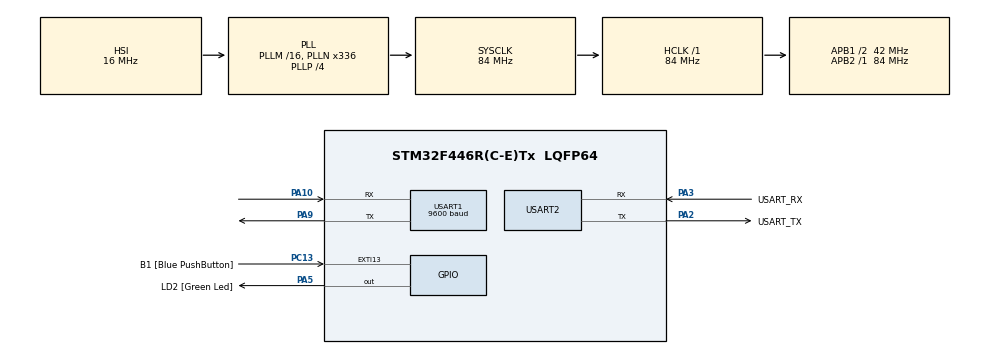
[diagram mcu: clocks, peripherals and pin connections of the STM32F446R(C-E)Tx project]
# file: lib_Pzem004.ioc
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Mcu.Family=STM32F4
Mcu.Name=STM32F446R(C-E)Tx
Mcu.Package=LQFP64
NVIC.PriorityGroup=NVIC_PRIORITYGROUP_0
PA10.Mode=Asynchronous
PA10.Signal=USART1_RX
PA13.GPIO_Label=TMS
PA13.Mode=Serial_Wire
PA13.Signal=SYS_JTMS-SWDIO
PA14.GPIO_Label=TCK
PA14.Mode=Serial_Wire
PA14.Signal=SYS_JTCK-SWCLK
PA2.GPIO_Label=USART_TX
PA2.Mode=Asynchronous
PA2.Signal=USART2_TX
PA3.GPIO_Label=USART_RX
PA3.Mode=Asynchronous
PA3.Signal=USART2_RX
PA5.GPIO_Label=LD2 [Green Led]
PA5.Signal=GPIO_Output
PA9.Mode=Asynchronous
PA9.Signal=USART1_TX
PB3.GPIO_Label=SWO
PB3.Signal=SYS_JTDO-SWO
PC13.GPIO_Label=B1 [Blue PushButton]
PC13.GPIO_ModeDefaultEXTI=GPIO_MODE_IT_FALLING
PC13.Signal=GPXTI13
PC14-OSC32_IN.Mode=LSE-External-Oscillator
PC14-OSC32_IN.Signal=RCC_OSC32_IN
PC15-OSC32_OUT.Mode=LSE-External-Oscillator
PC15-OSC32_OUT.Signal=RCC_OSC32_OUT
PH0-OSC_IN.Mode=HSE-External-Oscillator
PH0-OSC_IN.Signal=RCC_OSC_IN
PH1-OSC_OUT.Mode=HSE-External-Oscillator
PH1-OSC_OUT.Signal=RCC_OSC_OUT
ProjectManager.HeapSize=0x200
ProjectManager.StackSize=0x400
ProjectManager.TargetToolchain=STM32CubeIDE
RCC.48MHZClocksFreq_Value=84000000
RCC.AHBFreq_Value=84000000
RCC.APB1CLKDivider=RCC_HCLK_DIV2
RCC.APB1Freq_Value=42000000
RCC.APB1TimFreq_Value=84000000
RCC.APB2Freq_Value=84000000
RCC.APB2TimFreq_Value=84000000
RCC.CortexFreq_Value=84000000
RCC.FLatency-AdvancedSettings=FLASH_LATENCY_2
RCC.HCLKFreq_Value=84000000
RCC.HSE_VALUE=8000000
RCC.HSI_VALUE=16000000
RCC.PLLN=336
RCC.PLLP=RCC_PLLP_DIV4
RCC.SYSCLKFreq_VALUE=84000000
RCC.SYSCLKSource=RCC_SYSCLKSOURCE_PLLCLK
RCC.USBFreq_Value=168000000
RCC.VCOOutputFreq_Value=336000000
USART1.BaudRate=9600
USART1.VirtualMode=VM_ASYNC
USART2.VirtualMode=VM_ASYNC
board=NUCLEO-F446RE

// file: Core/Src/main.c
/* USER CODE BEGIN Header */
/**
  ******************************************************************************
  * @file           : main.c
  * @brief          : Main program body
  ******************************************************************************
  * @attention
  *
  * Copyright (c) 2024 STMicroelectronics.
  * All rights reserved.
  *
  * This software is licensed under terms that can be found in the LICENSE file
  * in the root directory of this software component.
  * If no LICENSE file comes with this software, it is provided AS-IS.
  *
  ******************************************************************************
  */
/* USER CODE END Header */
#include "main.h"

/* USER CODE BEGIN Includes */
#include <stdint.h>
#include <stdio.h>
#include <string.h>
#include <stdlib.h>
/* USER CODE END Includes */

UART_HandleTypeDef huart1;
UART_HandleTypeDef huart2;

/* USER CODE BEGIN PV */
#ifdef __GNUC__
/* With GCC/RAISONANCE, small printf (option LD Linker->Libraries->Small printf
   set to 'Yes') calls __io_putchar() */
#define PUTCHAR_PROTOTYPE int __io_putchar(int ch)
#else
#define PUTCHAR_PROTOTYPE int fputc(int ch, FILE *f)
#endif /* __GNUC__ */

/* USER CODE END PV */

void SystemClock_Config(void);
static void MX_GPIO_Init(void);
static void MX_USART2_UART_Init(void);
static void MX_USART1_UART_Init(void);

int main(void)
{

  /* MCU Configuration--------------------------------------------------------*/

  /* Reset of all peripherals, Initializes the Flash interface and the Systick. */
  HAL_Init();

  /* Configure the system clock */
  SystemClock_Config();

  /* Initialize all configured peripherals */
  MX_GPIO_Init();
  MX_USART2_UART_Init();
  MX_USART1_UART_Init();
  /* USER CODE BEGIN 2 */
  energyValues_t pzem_values;
  pzem_init(huart1);

  /* USER CODE END 2 */

  /* Infinite loop */
  while (1)
  {

    /* USER CODE BEGIN 3 */
	 pzem_values=read_PZEM();
	 if (pzem_values.error_check==0x01)
	 {
		 HAL_GPIO_WritePin(GPIOA, GPIO_PIN_5, 1);
	 }
	 else
	 {
		 HAL_GPIO_WritePin(GPIOA, GPIO_PIN_5, 0);
	 }
	 char str[40];
	 sprintf(&str,"v: %d\n",pzem_values.voltage);
	 HAL_UART_Transmit(&huart2, str, 10, HAL_MAX_DELAY);
	 HAL_Delay(2000);
  /* USER CODE END 3 */
  }
}

void SystemClock_Config(void)
{
  RCC_OscInitTypeDef RCC_OscInitStruct = {0};
  RCC_ClkInitTypeDef RCC_ClkInitStruct = {0};

  /** Configure the main internal regulator output voltage
  */
  __HAL_RCC_PWR_CLK_ENABLE();
  __HAL_PWR_VOLTAGESCALING_CONFIG(PWR_REGULATOR_VOLTAGE_SCALE3);

  /** Initializes the RCC Oscillators according to the specified parameters
  * in the RCC_OscInitTypeDef structure.
  */
  RCC_OscInitStruct.OscillatorType = RCC_OSCILLATORTYPE_HSI;
  RCC_OscInitStruct.HSIState = RCC_HSI_ON;
  RCC_OscInitStruct.HSICalibrationValue = RCC_HSICALIBRATION_DEFAULT;
  RCC_OscInitStruct.PLL.PLLState = RCC_PLL_ON;
  RCC_OscInitStruct.PLL.PLLSource = RCC_PLLSOURCE_HSI;
  RCC_OscInitStruct.PLL.PLLM = 16;
  RCC_OscInitStruct.PLL.PLLN = 336;
  RCC_OscInitStruct.PLL.PLLP = RCC_PLLP_DIV4;
  RCC_OscInitStruct.PLL.PLLQ = 2;
  RCC_OscInitStruct.PLL.PLLR = 2;
  if (HAL_RCC_OscConfig(&RCC_OscInitStruct) != HAL_OK)
  {
    Error_Handler();
  }

  /** Initializes the CPU, AHB and APB buses clocks
  */
  RCC_ClkInitStruct.ClockType = RCC_CLOCKTYPE_HCLK|RCC_CLOCKTYPE_SYSCLK
                              |RCC_CLOCKTYPE_PCLK1|RCC_CLOCKTYPE_PCLK2;
  RCC_ClkInitStruct.SYSCLKSource = RCC_SYSCLKSOURCE_PLLCLK;
  RCC_ClkInitStruct.AHBCLKDivider = RCC_SYSCLK_DIV1;
  RCC_ClkInitStruct.APB1CLKDivider = RCC_HCLK_DIV2;
  RCC_ClkInitStruct.APB2CLKDivider = RCC_HCLK_DIV1;

  if (HAL_RCC_ClockConfig(&RCC_ClkInitStruct, FLASH_LATENCY_2) != HAL_OK)
  {
    Error_Handler();
  }
}

 void MX_USART1_UART_Init(void)
{

  huart1.Instance = USART1;
  huart1.Init.BaudRate = 9600;
  huart1.Init.WordLength = UART_WORDLENGTH_8B;
  huart1.Init.StopBits = UART_STOPBITS_1;
  huart1.Init.Parity = UART_PARITY_NONE;
  huart1.Init.Mode = UART_MODE_TX_RX;
  huart1.Init.HwFlowCtl = UART_HWCONTROL_NONE;
  huart1.Init.OverSampling = UART_OVERSAMPLING_16;
  if (HAL_UART_Init(&huart1) != HAL_OK)
  {
    Error_Handler();
  }

}

 void MX_USART2_UART_Init(void)
{

  huart2.Instance = USART2;
  huart2.Init.BaudRate = 115200;
  huart2.Init.WordLength = UART_WORDLENGTH_8B;
  huart2.Init.StopBits = UART_STOPBITS_1;
  huart2.Init.Parity = UART_PARITY_NONE;
  huart2.Init.Mode = UART_MODE_TX_RX;
  huart2.Init.HwFlowCtl = UART_HWCONTROL_NONE;
  huart2.Init.OverSampling = UART_OVERSAMPLING_16;
  if (HAL_UART_Init(&huart2) != HAL_OK)
  {
    Error_Handler();
  }

}

 void MX_GPIO_Init(void)
{
  GPIO_InitTypeDef GPIO_InitStruct = {0};

  /* GPIO Ports Clock Enable */
  __HAL_RCC_GPIOC_CLK_ENABLE();
  __HAL_RCC_GPIOH_CLK_ENABLE();
  __HAL_RCC_GPIOA_CLK_ENABLE();
  __HAL_RCC_GPIOB_CLK_ENABLE();

  /*Configure GPIO pin Output Level */
  HAL_GPIO_WritePin(LD2_GPIO_Port, LD2_Pin, GPIO_PIN_RESET);

  /*Configure GPIO pin : B1_Pin */
  GPIO_InitStruct.Pin = B1_Pin;
  GPIO_InitStruct.Mode = GPIO_MODE_IT_FALLING;
  GPIO_InitStruct.Pull = GPIO_NOPULL;
  HAL_GPIO_Init(B1_GPIO_Port, &GPIO_InitStruct);

  /*Configure GPIO pin : LD2_Pin */
  GPIO_InitStruct.Pin = LD2_Pin;
  GPIO_InitStruct.Mode = GPIO_MODE_OUTPUT_PP;
  GPIO_InitStruct.Pull = GPIO_NOPULL;
  GPIO_InitStruct.Speed = GPIO_SPEED_FREQ_LOW;
  HAL_GPIO_Init(LD2_GPIO_Port, &GPIO_InitStruct);

}

void Error_Handler(void)
{
  __disable_irq();
  while (1)
  {
  }
}
